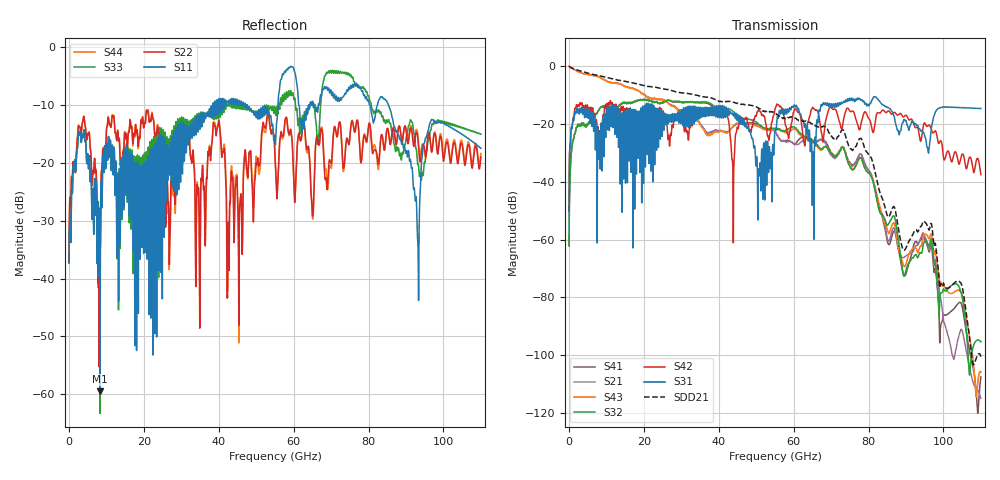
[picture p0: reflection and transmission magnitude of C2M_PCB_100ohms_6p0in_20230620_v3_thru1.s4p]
! Info: Touchstone file created by Circ.  Input file=C2M_PCB_100ohms_6p0in_20230620_v3.circ
# Hz S RI R 50
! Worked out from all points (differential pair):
!   11000 points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, 10 MHz to 110 GHz, reference 50 ohm
!   strongest paths, dB at 10 MHz, 27.51 GHz, 55.01 GHz, 82.51 GHz, 110 GHz:
!     S31: -50.2, -17.8, -22.3, -11.6, -14.7
!     S42: -50.1, -20.4, -14.9, -16.1, -37.6
!     S32: -62.1, -12.2, -21.7, -48.1, -95.3
!     S43: -0.1, -14.0, -22.0, -46.3, -105.8
!     S21: -0.1, -13.7, -22.7, -48.1, -114.8
!     S41: -62.1, -12.4, -22.8, -47.0, -107.4
!   taken as a pair (ports 3,1 in; 4,2 out), SDD21 dB: -0.1, -8.6, -16.3, -41.3, -100.5
!   lowest |S11| = -59.5 dB at 8.29 GHz (marker M1), VSWR 1.00, Z = 50.1 - j0.0922 ohm
!   |S11| at or under -10 dB: start of sweep to 38.43 GHz; 47.53 GHz to 55.78 GHz (8.248 GHz wide, 16 % of centre); 85.29 GHz to end of sweep (the widest 3 of 21)
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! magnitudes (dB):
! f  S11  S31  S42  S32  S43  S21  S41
! 10 MHz  -37.3  -50.2  -50.1  -62.1  -0.1  -0.1  -62.1
! 1.98 GHz  -18.6  -14.7  -13.4  -21.2  -1.7  -1.7  -21.2
! 8.29 GHz  -59.5  -29.1  -25.4  -14.6  -4.0  -4.0  -14.6
! 50.79 GHz  -11.0  -38.0  -15.0  -20.4  -21.1  -20.8  -21.0
! 77.91 GHz  -7.2  -11.9  -20.5  -31.7  -31.8  -30.4  -30.5
! 89.49 GHz  -17.3  -18.5  -17.5  -72.7  -69.3  -66.2  -72.3
! 110 GHz  -17.5  -14.7  -37.6  -95.3  -105.8  -114.8  -107.4
